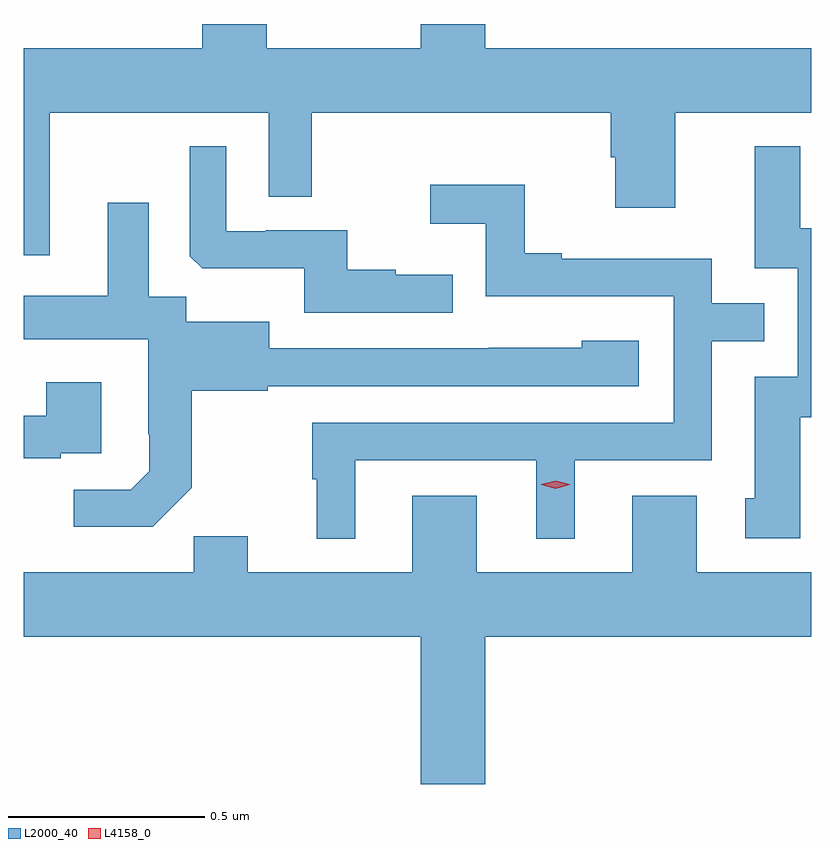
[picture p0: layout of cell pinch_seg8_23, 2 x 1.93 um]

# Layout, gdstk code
import gdstk
lib = gdstk.Library(unit=1e-6, precision=1e-09)
def P(c, l, *ps):  # polygons
    for p in ps: c.add(gdstk.Polygon(p, *l))
L2000_40 = (2000, 40)
L4158_0 = (4158, 0)

pinch_seg8_23 = lib.new_cell('pinch_seg8_23')
P(pinch_seg8_23, L2000_40, [(1111.117,1152.464),(1111.674,1152.464),(1111.674,1152.25),(1111.783,1152.25),(1111.783,1152.464),(1112.543,1152.464),(1112.543,1152.351),(1112.555,1152.351),(1112.555,1152.222),(1112.707,1152.222),(1112.707,1152.464),(1113.052,1152.464),(1113.052,1152.628),(1112.224,1152.628),(1112.224,1152.689),(1112.06,1152.689),(1112.06,1152.628),(1111.669,1152.628),(1111.669,1152.689),(1111.505,1152.689),(1111.505,1152.628),(1111.052,1152.628),(1111.052,1152.102),(1111.117,1152.102)],
  [(1112.141,1152.052),(1111.997,1152.052),(1111.997,1152.064),(1111.874,1152.064),(1111.874,1152.165),(1111.666,1152.165),(1111.666,1152.162),(1111.566,1152.162),(1111.566,1152.379),(1111.473,1152.379),(1111.473,1152.099),(1111.505,1152.068),(1111.764,1152.068),(1111.764,1151.955),(1112.141,1151.955)],
  [(1113.025,1151.69),(1113.052,1151.69),(1113.052,1152.17),(1113.025,1152.17),(1113.025,1152.379),(1112.909,1152.379),(1112.909,1152.069),(1113.018,1152.069),(1113.018,1151.793),(1112.909,1151.793),(1112.909,1151.484),(1112.885,1151.484),(1112.885,1151.382),(1113.025,1151.382)],
  [(1111.894,1151.58),(1112.354,1151.58),(1112.354,1151.381),(1112.452,1151.381),(1112.452,1151.58),(1112.799,1151.58),(1112.799,1151.883),(1112.933,1151.883),(1112.933,1151.979),(1112.799,1151.979),(1112.799,1152.093),(1112.419,1152.093),(1112.419,1152.106),(1112.325,1152.106),(1112.325,1152.281),(1112.085,1152.281),(1112.085,1152.182),(1112.226,1152.182),(1112.226,1151.997),(1112.703,1151.997),(1112.703,1151.676),(1111.785,1151.676),(1111.785,1151.532),(1111.796,1151.532),(1111.796,1151.381),(1111.894,1151.381)],
  [(1111.479,1151.511),(1111.479,1151.757),(1111.671,1151.757),(1111.671,1151.769),(1112.614,1151.769),(1112.614,1151.884),(1112.469,1151.884),(1112.469,1151.866),(1112.233,1151.866),(1112.233,1151.865),(1111.675,1151.865),(1111.675,1151.932),(1111.464,1151.932),(1111.464,1151.996),(1111.369,1151.996),(1111.369,1152.235),(1111.265,1152.235),(1111.265,1151.998),(1111.052,1151.998),(1111.052,1151.888),(1111.368,1151.888),(1111.368,1151.647),(1111.37,1151.647),(1111.37,1151.552),(1111.323,1151.505),(1111.179,1151.505),(1111.179,1151.411),(1111.379,1151.411)],
  [(1111.145,1151.598),(1111.249,1151.598),(1111.249,1151.779),(1111.109,1151.779),(1111.109,1151.694),(1111.052,1151.694),(1111.052,1151.586),(1111.145,1151.586)],
  [(1112.224,1151.132),(1113.052,1151.132),(1113.052,1151.296),(1112.761,1151.296),(1112.761,1151.491),(1112.597,1151.491),(1112.597,1151.296),(1112.203,1151.296),(1112.203,1151.491),(1112.039,1151.491),(1112.039,1151.296),(1111.621,1151.296),(1111.621,1151.387),(1111.483,1151.387),(1111.483,1151.296),(1111.052,1151.296),(1111.052,1151.132),(1112.06,1151.132),(1112.06,1150.758),(1112.224,1150.758)])
P(pinch_seg8_23, L4158_0, [(1112.403,1151.508),(1112.367,1151.518),(1112.367,1151.518),(1112.367,1151.519),(1112.403,1151.528),(1112.439,1151.519),(1112.439,1151.518),(1112.439,1151.518)])

lib.write_gds('pinch_seg8_23.gds')
